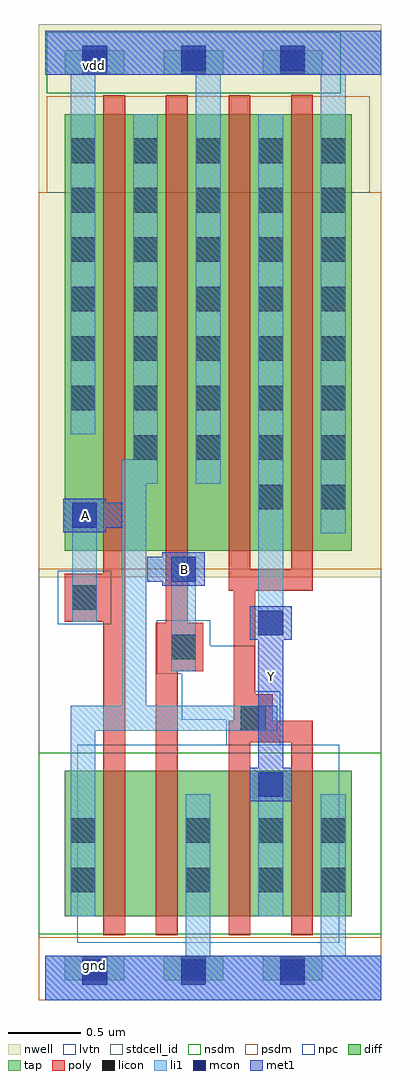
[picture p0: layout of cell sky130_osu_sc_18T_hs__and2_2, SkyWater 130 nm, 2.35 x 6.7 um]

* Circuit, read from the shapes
.subckt sky130_osu_sc_18T_hs__and2_2 A B Y gnd vdd
XM1 n1 A n2 gnd sky130_fd_pr__nfet_01v8_lvt w=1 l=0.15
XM2 gnd B n1 gnd sky130_fd_pr__nfet_01v8_lvt w=1 l=0.15
XM3 Y n2 gnd gnd sky130_fd_pr__nfet_01v8_lvt w=1 l=0.15 m=2
XM4 n2 A vdd vdd sky130_fd_pr__pfet_01v8 w=3 l=0.15
XM5 vdd B n2 vdd sky130_fd_pr__pfet_01v8 w=3 l=0.15
XM6 Y n2 vdd vdd sky130_fd_pr__pfet_01v8 w=3 l=0.15 m=2
.ends

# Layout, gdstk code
import gdstk
lib = gdstk.Library(unit=1e-6, precision=1e-09)
def R(c, l, rs):  # rectangles x0, y0, x1, y1
    for r in rs: c.add(gdstk.rectangle(r[:2], r[2:], *l))
def A(c, l, x, y, w, h, nx, ny, dx, dy):  # array of equal rectangles
    R(c, l, [(x+i*dx, y+j*dy, x+i*dx+w, y+j*dy+h) for i in range(nx) for j in range(ny)])
nwell = (64, 20)
diff = (65, 20)
tap = (65, 44)
poly = (66, 20)
licon = (66, 44)
li1 = (67, 20)
mcon = (67, 44)
met1 = (68, 20)
stdcell_id = (81, 4)
nsdm = (93, 44)
psdm = (94, 20)
npc = (95, 20)
lvtn = (125, 44)

sky130_osu_sc_18t_hs__an = lib.new_cell('sky130_osu_sc_18T_hs__and2_2')
R(sky130_osu_sc_18t_hs__an, nwell, [(-0.045,2.905,2.31,6.705)])
R(sky130_osu_sc_18t_hs__an, diff, [(0.135,0.575,2.105,1.575), (0.135,3.085,2.105,6.085)])
A(sky130_osu_sc_18t_hs__an, tap, 0.135, 0.135, 0.41, 0.17, 3, 2, 0.68, 6.22)
R(sky130_osu_sc_18t_hs__an, poly, [(0.4,0.445,0.55,2.6), (0.76,0.445,0.91,2.26), (1.26,0.445,1.41,1.77), (1.69,0.445,1.84,1.77), (1.26,1.77,1.84,1.92), (1.295,1.92,1.565,2.1), (1.295,2.1,1.445,2.81), (0.76,2.26,1.085,2.59), (0.83,2.59,0.98,6.215), (0.135,2.6,0.55,2.93), (1.26,2.81,1.84,2.96), (0.4,2.93,0.55,6.215), (1.26,2.96,1.41,6.215), (1.69,2.96,1.84,6.22)])
A(sky130_osu_sc_18t_hs__an, licon, 0.255, 0.135, 0.17, 0.17, 3, 2, 0.68, 6.22)
A(sky130_osu_sc_18t_hs__an, licon, 0.605, 3.71, 0.17, 0.17, 4, 1, 0.43, 0)
A(sky130_osu_sc_18t_hs__an, licon, 0.175, 4.05, 0.17, 0.17, 5, 6, 0.43, 0.34)
R(sky130_osu_sc_18t_hs__an, licon, [(0.175,0.74,0.345,0.91), (0.965,0.74,1.135,0.91), (1.465,0.74,1.635,0.91), (1.895,0.74,2.065,0.91), (0.175,1.08,0.345,1.25), (0.965,1.08,1.135,1.25), (1.465,1.08,1.635,1.25), (1.895,1.08,2.065,1.25), (1.345,1.85,1.515,2.02), (0.865,2.34,1.035,2.51), (0.185,2.68,0.355,2.85), (1.465,3.37,1.635,3.54), (1.895,3.37,2.065,3.54)])
R(sky130_osu_sc_18t_hs__an, li1, [(0,0,2.31,0.305), (0.965,0.305,1.135,1.415), (1.895,0.305,2.065,1.415), (0.175,0.575,0.345,1.85), (1.465,0.575,1.635,1.565), (0.175,1.85,1.595,2.02), (0.525,2.02,0.695,3.545), (0.865,2.26,1.035,3.045), (1.465,2.505,1.635,6.085), (0.185,2.6,0.355,3.415), (1.895,3.205,2.065,6.355), (0.525,3.545,0.775,3.715), (1.035,3.545,1.205,6.355), (0.605,3.715,0.775,6.085), (0.175,3.885,0.345,6.355), (0,6.355,2.31,6.66)])
A(sky130_osu_sc_18t_hs__an, mcon, 0.255, 0.105, 0.17, 0.17, 3, 2, 0.68, 6.28)
R(sky130_osu_sc_18t_hs__an, mcon, [(1.465,1.395,1.635,1.565), (1.465,2.505,1.635,2.675), (0.865,2.875,1.035,3.045), (0.185,3.245,0.355,3.415)])
R(sky130_osu_sc_18t_hs__an, met1, [(0,0,2.31,0.305), (1.405,1.365,1.695,1.595), (1.465,1.595,1.635,2.475), (1.405,2.475,1.695,2.705), (0.805,2.845,1.095,2.875), (0.7,2.875,1.095,3.045), (0.805,3.045,1.095,3.075), (0.125,3.215,0.415,3.245), (0.125,3.245,0.525,3.415), (0.125,3.415,0.415,3.445), (0,6.355,2.31,6.66)])
R(sky130_osu_sc_18t_hs__an, stdcell_id, [(-0.045,0,2.31,5.55)])
R(sky130_osu_sc_18t_hs__an, nsdm, [(-0.045,0.45,2.31,1.7), (0.01,6.23,2.03,6.65)])
R(sky130_osu_sc_18t_hs__an, psdm, [(-0.045,0,2.31,0.43), (-0.045,2.96,2.31,5.55), (0.01,5.55,2.23,6.21)])
R(sky130_osu_sc_18t_hs__an, npc, [(1.245,1.75,1.615,1.925), (0.94,1.925,1.615,2.12), (0.94,2.12,1.44,2.24), (0.765,2.24,1.44,2.435), (0.765,2.435,1.135,2.61), (0.085,2.58,0.455,2.95)])
R(sky130_osu_sc_18t_hs__an, lvtn, [(0.22,0.395,2.02,1.755)])
sky130_osu_sc_18t_hs__an.add(gdstk.Label('gnd', (0.34,0.24), layer=68, texttype=16))
sky130_osu_sc_18t_hs__an.add(gdstk.Label('vdd', (0.34,6.42), layer=68, texttype=16))
sky130_osu_sc_18t_hs__an.add(gdstk.Label('B', (0.955,2.96), layer=68, texttype=5))
sky130_osu_sc_18t_hs__an.add(gdstk.Label('A', (0.275,3.33), layer=68, texttype=5))
sky130_osu_sc_18t_hs__an.add(gdstk.Label('Y', (1.555,2.22), layer=68, texttype=5))

lib.write_gds('sky130_osu_sc_18T_hs__and2_2.gds')
